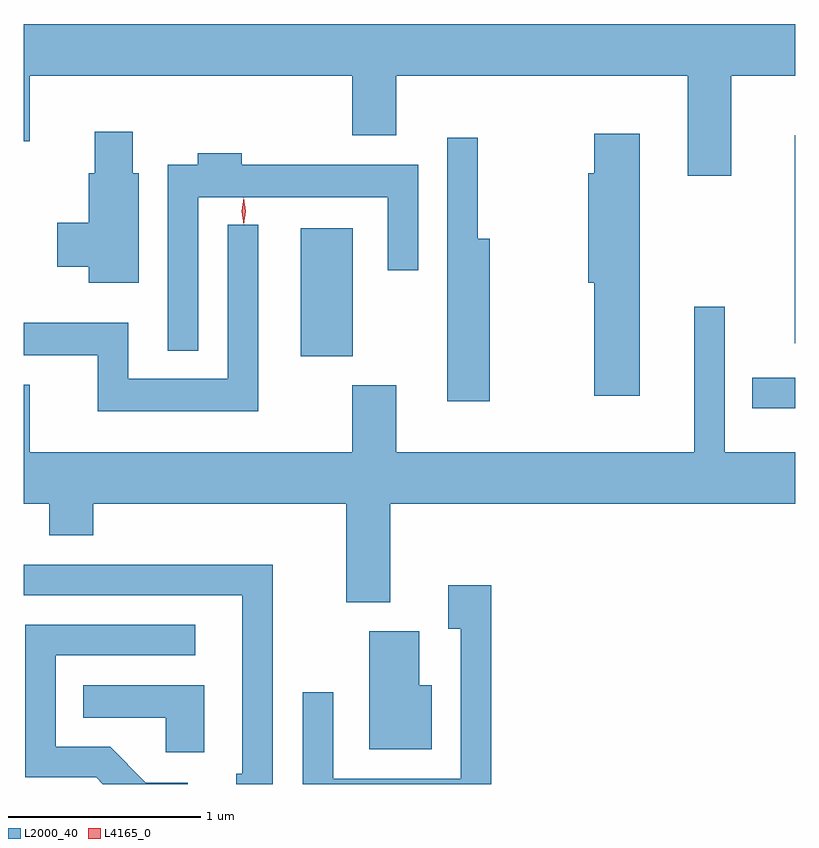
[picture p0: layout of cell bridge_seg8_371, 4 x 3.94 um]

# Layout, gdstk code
import gdstk
lib = gdstk.Library(unit=1e-6, precision=1e-09)
def R(c, l, rs):  # rectangles x0, y0, x1, y1
    for r in rs: c.add(gdstk.rectangle(r[:2], r[2:], *l))
def P(c, l, *ps):  # polygons
    for p in ps: c.add(gdstk.Polygon(p, *l))
L2000_40 = (2000, 40)
L4165_0 = (4165, 0)

bridge_seg8_371 = lib.new_cell('bridge_seg8_371')
R(bridge_seg8_371, L2000_40, [(693.418,1883.531,693.639,1883.689), (691.076,1883.801,691.344,1884.464), (693.636,1883.868,693.639,1884.948)])
P(bridge_seg8_371, L2000_40, [(693.309,1885.256),(693.639,1885.256),(693.639,1885.524),(689.639,1885.524),(689.639,1884.916),(689.669,1884.916),(689.669,1885.256),(691.341,1885.256),(691.341,1884.946),(691.569,1884.946),(691.569,1885.256),(693.081,1885.256),(693.081,1884.736),(693.309,1884.736)],
  [(690.234,1884.749),(690.204,1884.749),(690.204,1884.964),(690.006,1884.964),(690.006,1884.749),(689.976,1884.749),(689.976,1884.494),(689.811,1884.494),(689.811,1884.266),(689.976,1884.266),(689.976,1884.181),(690.234,1884.181)],
  [(692.834,1884.954),(692.596,1884.954),(692.596,1884.749),(692.566,1884.749),(692.566,1884.181),(692.596,1884.181),(692.596,1883.596),(692.834,1883.596)],
  [(692.054,1884.409),(691.994,1884.409),(691.994,1884.933),(691.836,1884.933),(691.836,1883.566),(692.054,1883.566)],
  [(690.544,1884.626),(691.526,1884.626),(691.526,1884.248),(691.684,1884.248),(691.684,1884.794),(690.769,1884.794),(690.769,1884.854),(690.541,1884.854),(690.541,1884.794),(690.386,1884.794),(690.386,1883.828),(690.544,1883.828)],
  [(690.854,1884.483),(690.696,1884.483),(690.696,1883.684),(690.179,1883.684),(690.179,1883.974),(689.639,1883.974),(689.639,1883.806),(690.021,1883.806),(690.021,1883.516),(690.854,1883.516)],
  [(691.539,1883.036),(693.639,1883.036),(693.639,1883.304),(693.274,1883.304),(693.274,1884.058),(693.116,1884.058),(693.116,1883.304),(691.569,1883.304),(691.569,1883.649),(691.341,1883.649),(691.341,1883.304),(689.669,1883.304),(689.669,1883.654),(689.639,1883.654),(689.639,1883.036),(689.771,1883.036),(689.771,1882.871),(689.999,1882.871),(689.999,1883.036),(691.311,1883.036),(691.311,1882.526),(691.539,1882.526)],
  [(690.929,1882.719),(689.639,1882.719),(689.639,1882.561),(690.771,1882.561),(690.771,1881.634),(690.741,1881.634),(690.741,1881.582),(690.929,1881.582)],
  [(692.064,1882.614),(691.841,1882.614),(691.841,1882.386),(691.906,1882.386),(691.906,1881.609),(691.244,1881.609),(691.244,1882.058),(691.086,1882.058),(691.086,1881.582),(692.064,1881.582)],
  [(690.488,1881.589),(690.272,1881.589),(690.087,1881.774),(689.804,1881.774),(689.804,1882.251),(690.528,1882.251),(690.528,1882.409),(689.646,1882.409),(689.646,1881.616),(690.014,1881.616),(690.048,1881.582),(690.488,1881.582)],
  [(691.754,1882.094),(691.689,1882.094),(691.689,1882.374),(691.431,1882.374),(691.431,1881.761),(691.754,1881.761)],
  [(690.574,1882.094),(689.948,1882.094),(689.948,1881.926),(690.376,1881.926),(690.376,1881.746),(690.574,1881.746)])
P(bridge_seg8_371, L4165_0, [(690.778,1884.483),(690.778,1884.484),(690.769,1884.553),(690.779,1884.622),(690.779,1884.623),(690.78,1884.622),(690.789,1884.553),(690.779,1884.484)],
  [(690.778,1884.487),(690.778,1884.487),(690.769,1884.553),(690.779,1884.62),(690.779,1884.62),(690.78,1884.62),(690.789,1884.553),(690.779,1884.487)])

lib.write_gds('bridge_seg8_371.gds')
